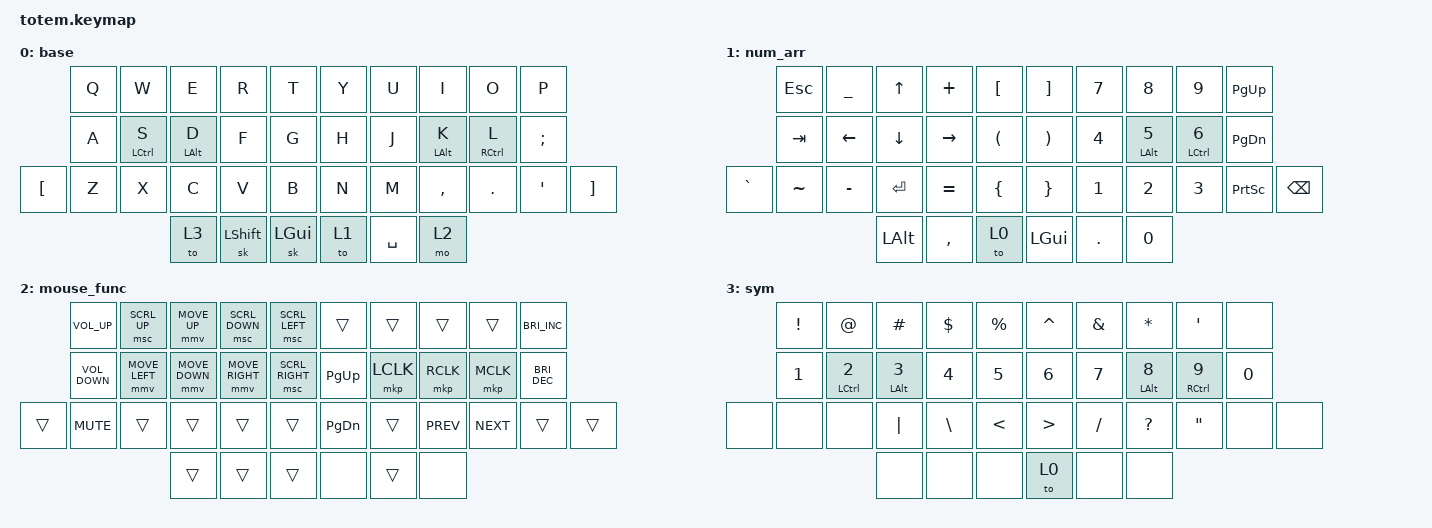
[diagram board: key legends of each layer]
//
//                                                        ▀▀▀▀▀     ▀▀▀▀▀          ▀▀█▀▀
//                                                        ▄▀▀▀▄  ▄  ▄▀▀▀▄  ▄  ▄▀▀▀▄  █  ▄▀▀▀▄
//                                                        █   █  █  █   █  █  █   █  █  █   █
//                                                         ▀▀▀   █   ▀▀▀   █   ▀▀▀   ▀   ▀▀▀
//                                                               █      ▄▄▄█▄▄▄    █   █  
//                                                               ▀      █  █  █     █▄█
//                                                             ▀▀▀▀▀    █  █  █      ▀
//                                                                      ▀  ▀  ▀
//
// ▄▄▄▄▄▄▄▄▄▄▄▄▄▄▄▄▄▄▄▄▄▄▄▄▄▄▄▄▄▄▄▄▄▄▄▄▄▄▄▄▄▄▄▄▄▄▄▄▄▄▄▄▄▄▄▄▄▄▄▄▄▄▄▄▄▄▄▄▄▄▄▄▄▄▄▄▄▄▄▄▄▄▄▄▄▄▄▄▄▄▄▄▄▄▄▄▄▄▄▄▄▄▄▄▄▄▄▄▄▄▄▄▄▄▄▄▄▄▄▄▄▄▄▄▄▄▄▄▄▄▄▄▄▄▄▄▄▄▄▄▄▄▄▄▄▄▄▄▄

#include <behaviors.dtsi>
#include <dt-bindings/zmk/keys.h>
#include <dt-bindings/zmk/pointing.h>

/ {
    behaviors {
        /* Left-hand home-row mods: hold activates when combined with right-half keys (positions in map order, 0-37). */

        hml: left_hand_positional_hold_tap {
            compatible = "zmk,behavior-hold-tap";
            #binding-cells = <2>;
            flavor = "balanced";
            tapping-term-ms = <200>;
            quick-tap-ms = <200>;
            require-prior-idle-ms = <150>;
            bindings = <&kp>, <&kp>;

            hold-trigger-key-positions = <5 6 7 8 9 15 16 17 18 19 25 26 27 28 29 30 31 35 36 37>;
            hold-trigger-on-release;
        };

        /* Right-hand home-row mods: hold activates when combined with left-half keys (not 31 — that is RBKT on the right). */

        hmr: right_hand_positional_hold_tap {
            compatible = "zmk,behavior-hold-tap";
            #binding-cells = <2>;
            flavor = "balanced";
            tapping-term-ms = <200>;
            quick-tap-ms = <200>;
            require-prior-idle-ms = <150>;
            bindings = <&kp>, <&kp>;

            hold-trigger-key-positions = <0 1 2 3 4 10 11 12 13 14 20 21 22 23 24 32 33 34>;
            hold-trigger-on-release;
        };
    };

    combos {
        compatible = "zmk,combos";

        enter {
            bindings = <&kp ENTER>;
            key-positions = <29 28>;
        };

        backspace {
            bindings = <&kp BACKSPACE>;
            key-positions = <7 8>;
        };

        tab {
            bindings = <&kp TAB>;
            key-positions = <23 22>;
        };

        esc {
            bindings = <&kp ESCAPE>;
            key-positions = <1 2>;
        };
    };

    keymap {
        compatible = "zmk,keymap";

        base {
            bindings = <
                  &kp Q  &kp W         &kp E            &kp R           &kp T           &kp Y  &kp U      &kp I            &kp O         &kp P
                  &kp A  &hml LCTRL S  &hml LEFT_ALT D  &kp F           &kp G           &kp H  &kp J      &hmr LEFT_ALT K  &hmr RCTRL L  &kp SEMI
&kp LEFT_BRACKET  &kp Z  &kp X         &kp C            &kp V           &kp B           &kp N  &kp M      &kp COMMA        &kp DOT       &kp SQT   &kp RBKT
                                       &to 3            &sk LEFT_SHIFT  &sk LEFT_GUI    &to 1  &kp SPACE  &mo 2
            >;
        };

        num_arr {
            bindings = <
           &kp ESCAPE  &kp UNDERSCORE  &kp UP        &kp PLUS   &kp LBKT    &kp RBKT      &kp NUMBER_7  &kp NUMBER_8            &kp N9               &kp PAGE_UP
           &kp TAB     &kp LEFT        &kp DOWN      &kp RIGHT  &kp LPAR    &kp RPAR      &kp NUMBER_4  &hmr LEFT_ALT NUMBER_5  &hmr LCTRL NUMBER_6  &kp PAGE_DOWN
&kp GRAVE  &kp TILDE   &kp MINUS       &kp ENTER     &kp EQUAL  &kp LBRC    &kp RBRC      &kp NUMBER_1  &kp NUMBER_2            &kp NUMBER_3         &kp PRINTSCREEN  &kp BACKSPACE
                                       &kp LEFT_ALT  &kp COMMA  &to 0       &kp LEFT_GUI  &kp DOT       &kp NUMBER_0
            >;
        };

        mouse_func {
            bindings = <
        &kp C_VOLUME_UP    &msc SCRL_UP    &mmv MOVE_UP    &msc SCRL_DOWN   &msc SCRL_LEFT     &trans         &trans     &trans      &trans      &kp C_BRIGHTNESS_INC
        &kp C_VOLUME_DOWN  &mmv MOVE_LEFT  &mmv MOVE_DOWN  &mmv MOVE_RIGHT  &msc SCRL_RIGHT    &kp PAGE_UP    &mkp LCLK  &mkp RCLK   &mkp MCLK   &kp C_BRIGHTNESS_DEC
&trans  &kp K_MUTE         &trans          &trans          &trans           &trans             &kp PAGE_DOWN  &trans     &kp K_PREV  &kp K_NEXT  &trans                &trans
                                           &trans          &trans           &trans             &none          &trans     &none
            >;
        };

        sym {
            bindings = <
       &kp EXCLAMATION  &kp AT_SIGN          &kp HASH                &kp DOLLAR     &kp PERCENT      &kp CARET         &kp AMPERSAND  &kp ASTERISK            &kp SQT              &none
       &kp NUMBER_1     &hml LCTRL NUMBER_2  &hml LEFT_ALT NUMBER_3  &kp NUMBER_4   &kp NUMBER_5     &kp NUMBER_6      &kp NUMBER_7   &hmr LEFT_ALT NUMBER_8  &hmr RCTRL NUMBER_9  &kp NUMBER_0
&none  &none            &none                &kp PIPE                &kp BACKSLASH  &kp LESS_THAN    &kp GREATER_THAN  &kp SLASH      &kp QUESTION            &kp DOUBLE_QUOTES    &none         &none
                                             &none                   &none          &none            &to 0             &none          &none
            >;
        };

        extra1 { status = "reserved"; };

        extra2 { status = "reserved"; };

        extra3 { status = "reserved"; };
    };

    conditional_layers {
        compatible = "zmk,conditional-layers";

        device {
            if-layers = <1 2>;
            then-layer = <3>;
        };
    };
};
